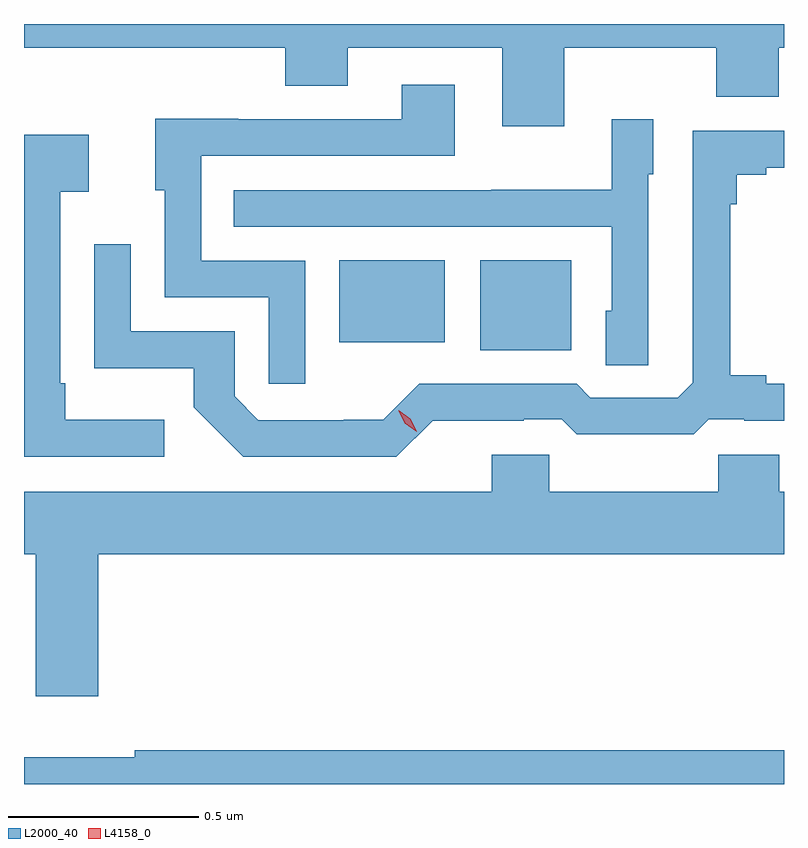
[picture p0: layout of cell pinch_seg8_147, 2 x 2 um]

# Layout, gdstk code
import gdstk
lib = gdstk.Library(unit=1e-6, precision=1e-09)
def R(c, l, rs):  # rectangles x0, y0, x1, y1
    for r in rs: c.add(gdstk.rectangle(r[:2], r[2:], *l))
def P(c, l, *ps):  # polygons
    for p in ps: c.add(gdstk.Polygon(p, *l))
L2000_40 = (2000, 40)
L4158_0 = (4158, 0)

pinch_seg8_147 = lib.new_cell('pinch_seg8_147')
R(pinch_seg8_147, L2000_40, [(801.542,1125.029,801.781,1125.265), (801.17,1125.05,801.448,1125.265)])
P(pinch_seg8_147, L2000_40, [(801.763,1125.824),(802.163,1125.824),(802.163,1125.696),(802.327,1125.696),(802.327,1125.824),(802.341,1125.824),(802.341,1125.887),(800.341,1125.887),(800.341,1125.824),(801.029,1125.824),(801.029,1125.725),(801.193,1125.725),(801.193,1125.824),(801.599,1125.824),(801.599,1125.618),(801.763,1125.618)],
  [(801.081,1125.264),(800.808,1125.264),(800.808,1125.54),(801.475,1125.54),(801.475,1125.727),(801.335,1125.727),(801.335,1125.636),(800.905,1125.636),(800.905,1125.638),(800.687,1125.638),(800.687,1125.45),(800.712,1125.45),(800.712,1125.168),(800.985,1125.168),(800.985,1124.94),(801.081,1124.94)],
  [(801.984,1125.492),(801.997,1125.492),(801.997,1125.637),(801.888,1125.637),(801.888,1125.451),(801.571,1125.451),(801.571,1125.45),(800.893,1125.45),(800.893,1125.354),(801.888,1125.354),(801.888,1125.132),(801.872,1125.132),(801.872,1124.989),(801.984,1124.989)],
  [(801.416,1124.843),(801.656,1124.843),(801.656,1124.847),(801.756,1124.847),(801.796,1124.808),(802.103,1124.808),(802.143,1124.847),(802.237,1124.847),(802.237,1124.843),(802.341,1124.843),(802.341,1124.94),(802.294,1124.94),(802.294,1124.963),(802.199,1124.963),(802.199,1125.413),(802.217,1125.413),(802.217,1125.49),(802.294,1125.49),(802.294,1125.509),(802.341,1125.509),(802.341,1125.606),(802.101,1125.606),(802.101,1124.943),(802.062,1124.904),(801.831,1124.904),(801.795,1124.94),(801.381,1124.94),(801.287,1124.846),(801.182,1124.846),(801.182,1124.844),(800.958,1124.844),(800.895,1124.907),(800.895,1125.078),(800.622,1125.078),(800.622,1125.307),(800.526,1125.307),(800.526,1124.981),(800.788,1124.981),(800.788,1124.879),(800.918,1124.748),(801.321,1124.748)],
  [(800.71,1124.845),(800.449,1124.845),(800.449,1124.941),(800.436,1124.941),(800.436,1125.446),(800.512,1125.446),(800.512,1125.595),(800.341,1125.595),(800.341,1124.748),(800.71,1124.748)],
  [(800.536,1124.492),(802.341,1124.492),(802.341,1124.656),(802.328,1124.656),(802.328,1124.754),(802.168,1124.754),(802.168,1124.656),(801.723,1124.656),(801.723,1124.754),(801.572,1124.754),(801.572,1124.656),(800.341,1124.656),(800.341,1124.492),(800.372,1124.492),(800.372,1124.118),(800.536,1124.118)],
  [(802.341,1123.976),(800.632,1123.976),(800.632,1123.957),(800.341,1123.957),(800.341,1123.887),(802.341,1123.887)])
P(pinch_seg8_147, L4158_0, [(801.374,1124.814),(801.343,1124.836),(801.327,1124.869),(801.327,1124.87),(801.327,1124.87),(801.358,1124.848),(801.374,1124.815),(801.374,1124.814)])

lib.write_gds('pinch_seg8_147.gds')
